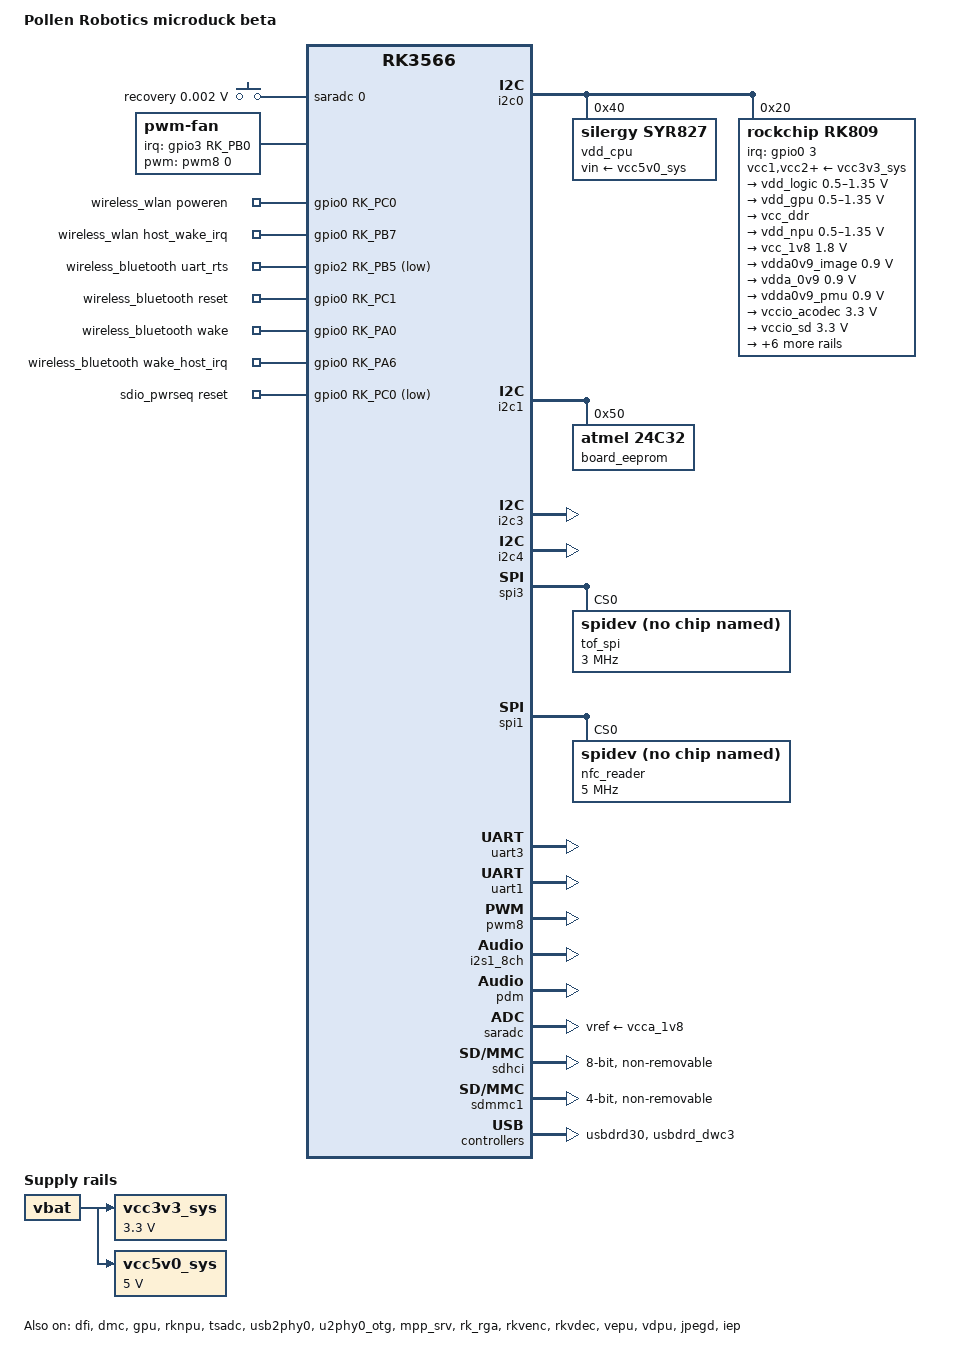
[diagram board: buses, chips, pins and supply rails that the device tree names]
// SPDX-License-Identifier: (GPL-2.0+ OR MIT)
/*
 * microduck beta: Seeed "MicroDuck Main Board", RK3566, 1 GB DDR3, 64 GB eMMC.
 *
 * Transcribed from the V0.1 schematic dated 2026-09-09 (24 sheets). That
 * schematic is known to be OLDER than the boards in hand, and no newer one was
 * available when this was written. So every pin below is "what V0.1 says",
 * not "what the board does" -- docs/agents/beta-board.md lists what to measure
 * before trusting each block, and the order to do it in. Sheet numbers are
 * cited so a newer schematic can be diffed against this file block by block.
 *
 * Built on Rockchip's own rk3566.dtsi + rk3568-linux.dtsi, the same base as
 * radxa's rk3566-radxa-zero3.dtsi, so everything SoC-level (MPP, RGA, ISP,
 * NPU, GPU) is described exactly as on the Zero 3W the image already runs on.
 * What differs is the board: a different PMIC (RK809, not RK817), a different
 * motor UART, eMMC instead of SD, a codec instead of HDMI, and a face board.
 *
 * Not a Zero 3W in any respect beyond the SoC: do not include
 * rk3566-radxa-zero3.dtsi here, and do not port fixes between the two blindly.
 */

/dts-v1/;

#include <dt-bindings/gpio/gpio.h>
#include <dt-bindings/input/input.h>
#include <dt-bindings/pinctrl/rockchip.h>
#include <dt-bindings/pwm/pwm.h>
#include "rk3566.dtsi"
#include "rk3568-linux.dtsi"

/ {
	model = "Pollen Robotics microduck beta";
	/*
	 * The first entry is what tells software it is on a beta board:
	 * /proc/device-tree/compatible. The board *revision* within the family
	 * comes from the SARADC_VIN1 divider instead (see &saradc), so a later
	 * board spin keeps this string unless it needs a different DTB.
	 */
	compatible = "pollen,microduck-beta", "rockchip,rk3566";

	/*
	 * The motor bus is UART3 here, not UART2 -- but it enumerates as
	 * /dev/ttyS2, because these two aliases are swapped.
	 *
	 * Deliberate: /dev/ttyS2 is the motor bus in robotd.toml, in the daemon's
	 * install scripts and in every doc, because on the Zero 3W it really is
	 * UART2. Renaming the device per board would mean a per-machine robotd.toml
	 * (and so a per-machine build of the whole Rust daemon recipe) to change
	 * one string. 8250_dw takes its line number from the "serial" alias
	 * (8250_dw.c: of_alias_get_id(np, "serial")), so this costs nothing.
	 *
	 * UART2 itself stays the FIQ debug console (ttyFIQ0), which is not an 8250
	 * port, so nothing else wants the ttyS2 name.
	 */
	aliases {
		serial2 = &uart3;
		serial3 = &uart2;
	};

	/*
	 * rk3568-linux.dtsi's bootargs carry root=PARTUUID=614e0000-0000. Replaced,
	 * not appended to, for the reason 0001-*-restore-chosen-bootargs.patch gives
	 * for the Zero 3W: U-Boot's RAUC script passes root=PARTLABEL=rootfs_a|b,
	 * and a root= here would REPLACE it and pin every boot to one slot.
	 *
	 * Unlike the Zero 3W, earlycon and console=ttyFIQ0 are wanted and safe:
	 * UART2 (0xfe660000) is the debug UART on test pads TP83/TP84 (sheet 24,
	 * "Default debug UART 3.3V"), not the motor bus.
	 */
	chosen {
		bootargs = "earlycon=uart8250,mmio32,0xfe660000 console=ttyFIQ0 rw rootwait";
	};

	/* Sheet 4/5: the battery feeds two TPS54302 bucks. */
	vbat: vbat {
		compatible = "regulator-fixed";
		regulator-name = "vbat";
		regulator-always-on;
		regulator-boot-on;
	};

	vcc3v3_sys: vcc3v3-sys {
		compatible = "regulator-fixed";
		regulator-name = "vcc3v3_sys";
		regulator-always-on;
		regulator-boot-on;
		regulator-min-microvolt = <3300000>;
		regulator-max-microvolt = <3300000>;
		vin-supply = <&vbat>;
	};

	vcc5v0_sys: vcc5v0-sys {
		compatible = "regulator-fixed";
		regulator-name = "vcc5v0_sys";
		regulator-always-on;
		regulator-boot-on;
		regulator-min-microvolt = <5000000>;
		regulator-max-microvolt = <5000000>;
		vin-supply = <&vbat>;
	};

	/*
	 * Sheet 21/14: the Recovery button pulls SARADC_VIN0 to ground (10k to
	 * VCCA_1V8 otherwise). Described the way Rockchip's evb does it, because
	 * Rockchip's U-Boot reads this node from the kernel DTB to decide whether
	 * to enter rockusb (loader) mode -- which is what lets the button replace
	 * shorting the maskrom pads for a reflash. NOT verified on this board:
	 * docs/agents/beta-board.md says how to check.
	 */
	adc-keys {
		compatible = "adc-keys";
		io-channels = <&saradc 0>;
		io-channel-names = "buttons";
		keyup-threshold-microvolt = <1800000>;
		poll-interval = <100>;

		recovery-key {
			label = "recovery";
			linux,code = <KEY_VOLUMEUP>;
			press-threshold-microvolt = <1750>;
		};
	};

	/*
	 * Sheet 21: 4-pin fan header, PWM8_M0 through a level shifter, tach on
	 * GPIO3_B0 through a MOSFET with a 10k pull-up. Whether a fan is fitted
	 * on the beta units is not known; with none, the tach simply reads 0.
	 */
	fan: pwm-fan {
		compatible = "pwm-fan";
		#cooling-cells = <2>;
		pwms = <&pwm8 0 40000 0>;
		cooling-levels = <0 96 160 255>;
		interrupt-parent = <&gpio3>;
		interrupts = <RK_PB0 IRQ_TYPE_EDGE_FALLING>;
		pulses-per-revolution = <2>;
		pinctrl-names = "default";
		pinctrl-0 = <&fan_tach>;
	};

	/*
	 * Sheet 7: speaker. The codec's HPL output drives an NS4150B class-D amp
	 * (enable = AUDIO_AMP_CTL, GPIO1_B0) into the 4 ohm speaker. SPK_OUT is
	 * not connected, so the codec must play on its *headphone* path; see
	 * hp-ctl-gpios on &rk809_codec.
	 */
	rk809_sound: rk809-sound {
		compatible = "rockchip,multicodecs-card";
		rockchip,card-name = "rockchip-rk809";
		rockchip,format = "i2s";
		rockchip,mclk-fs = <256>;
		rockchip,cpu = <&i2s1_8ch>;
		rockchip,codec = <&rk809_codec>;
		status = "okay";
	};

	/*
	 * Sheet 18/24: the face board's microphone is PDM, on PDM_CLK1_M0
	 * (GPIO1_A4) and PDM_SDI1_M0 (GPIO1_B2). Not an analog mic into the
	 * codec: MIC1P/N on the RK809 are tied off (sheet 7).
	 */
	pdmics: dummy-codec {
		compatible = "rockchip,dummy-codec";
		#sound-dai-cells = <0>;
		status = "okay";
	};

	pdm_mic: pdm-mic {
		compatible = "simple-audio-card";
		simple-audio-card,name = "rockchip,pdm-mic";
		status = "okay";

		simple-audio-card,cpu {
			sound-dai = <&pdm>;
		};

		simple-audio-card,codec {
			sound-dai = <&pdmics>;
		};
	};

	/*
	 * Sheet 22: WL6201S WiFi/BT module on SDMMC1 + UART1. The chip inside it
	 * is NOT known yet, so this is the generic Rockchip rfkill/power
	 * description, which bcmdhd, brcmfmac and the aic8800 vendor driver all
	 * consume. The module footprint has no 32 kHz LPO pin, which argues
	 * against Broadcom/Cypress -- but that is an inference, not a fact. The
	 * driver (and RK_WIFIBT_RRECOMMENDS in the machine conf) follow from the
	 * answer.
	 *
	 * Same SoC pins as the Zero 3W for REG_ON and the UART; the wake lines
	 * moved (HOST_WAKE_BT GPIO0_A0, BT_WAKE_HOST GPIO0_A6, WIFI_WAKE_HOST
	 * GPIO0_B7).
	 */
	wireless_wlan: wireless-wlan {
		compatible = "wlan-platdata";
		rockchip,grf = <&grf>;
		WIFI,poweren_gpio = <&gpio0 RK_PC0 GPIO_ACTIVE_HIGH>;
		WIFI,host_wake_irq = <&gpio0 RK_PB7 GPIO_ACTIVE_HIGH>;
		pinctrl-names = "default";
		pinctrl-0 = <&wifi_host_wake>;
		status = "okay";
	};

	wireless_bluetooth: wireless-bluetooth {
		compatible = "bluetooth-platdata";
		uart_rts_gpios = <&gpio2 RK_PB5 GPIO_ACTIVE_LOW>;
		pinctrl-names = "default", "rts_gpio";
		pinctrl-0 = <&uart1m0_rtsn>;
		pinctrl-1 = <&uart1_gpios>;
		BT,reset_gpio    = <&gpio0 RK_PC1 GPIO_ACTIVE_HIGH>;
		BT,wake_gpio     = <&gpio0 RK_PA0 GPIO_ACTIVE_HIGH>;
		BT,wake_host_irq = <&gpio0 RK_PA6 GPIO_ACTIVE_HIGH>;
		status = "okay";
	};

	sdio_pwrseq: sdio-pwrseq {
		compatible = "mmc-pwrseq-simple";
		pinctrl-names = "default";
		pinctrl-0 = <&wifi_enable_h>;
		reset-gpios = <&gpio0 RK_PC0 GPIO_ACTIVE_LOW>;
	};
};

&cpu0 {
	cpu-supply = <&vdd_cpu>;
};

&dfi {
	status = "okay";
};

&dmc {
	center-supply = <&vdd_logic>;
	status = "okay";
};

&gpu {
	mali-supply = <&vdd_gpu>;
	status = "okay";
};

&rknpu {
	rknpu-supply = <&vdd_npu>;
	status = "okay";
};

&rknpu_mmu {
	status = "okay";
};

/*
 * Sheet 4, "IO Power Domain Map" -- and the one block in this file that can
 * damage the SoC if it is wrong. Telling a 3.3 V-supplied bank it is at 1.8 V
 * overdrives its pads. Each value below is the supply the V0.1 schematic draws
 * for that bank; MEASURE THEM on the physical board (the test points are in
 * docs/agents/beta-board.md) before booting a kernel with this DTB.
 *
 * Note how it differs from the Zero 3W: there vccio4 is 1.8 V and vccio6 3.3 V;
 * here it is the other way round (VCCIO6 is the camera/ToF bank at 1.8 V).
 */
&pmu_io_domains {
	status = "okay";
	pmuio1-supply = <&vcc3v3_pmu>;
	pmuio2-supply = <&vcc3v3_pmu>;
	vccio1-supply = <&vccio_acodec>;	/* 3.3 V: I2S1 to the codec, amp enable */
	vccio2-supply = <&vcc_1v8>;		/* 1.8 V: eMMC, FLASH_VOL_SEL high */
	vccio3-supply = <&vccio_sd>;		/* 3.3 V: SDMMC0, unconnected */
	vccio4-supply = <&vcc_3v3>;		/* 3.3 V: SDIO + UART1 to the radio, I2C4 */
	vccio5-supply = <&vcc_3v3>;		/* 3.3 V: motors, IMU I2C3, NFC SPI1, fan */
	vccio6-supply = <&vcc_1v8>;		/* 1.8 V: camera, ToF SPI3 */
	vccio7-supply = <&vcc_3v3>;		/* 3.3 V: UART9 test points, BTB GPIO4_C7/D0 */
};

/* Sheet 6/7: RK809-5 PMIC and the RK860-1 CPU rail, both on I2C0. */
&i2c0 {
	status = "okay";

	/*
	 * RK860-1, drawn with a pin-to-pin TCS4525-WT alternative. Described like
	 * radxa's Zero 3 RK860 (silergy,syr827 at 0x40), which is proven with this
	 * kernel. If the board carries the TCS4525 instead, this node does not
	 * probe and the CPU stays at its boot voltage: swap it for
	 * compatible = "tcs,tcs4525"; reg = <0x1c>; (rk3568-evb.dtsi has one).
	 * VSEL is PMIC_SLEEP_H, as on the Zero 3.
	 */
	vdd_cpu: rk860x@40 {
		compatible = "silergy,syr827";
		reg = <0x40>;
		vin-supply = <&vcc5v0_sys>;
		regulator-compatible = "fan53555-reg";
		regulator-name = "vdd_cpu";
		regulator-min-microvolt = <712500>;
		regulator-max-microvolt = <1390000>;
		regulator-init-microvolt = <1000000>;
		regulator-ramp-delay = <2300>;
		fcs,suspend-voltage-selector = <1>;
		regulator-boot-on;
		regulator-always-on;
		regulator-state-mem {
			regulator-off-in-suspend;
		};
	};

	rk809: pmic@20 {
		compatible = "rockchip,rk809";
		reg = <0x20>;
		interrupt-parent = <&gpio0>;
		interrupts = <3 IRQ_TYPE_LEVEL_LOW>;

		pinctrl-names = "default", "pmic-sleep",
				"pmic-power-off", "pmic-reset";
		pinctrl-0 = <&pmic_int>;
		pinctrl-1 = <&soc_slppin_slp>, <&rk817_slppin_slp>;
		pinctrl-2 = <&soc_slppin_gpio>, <&rk817_slppin_pwrdn>;
		pinctrl-3 = <&soc_slppin_gpio>, <&rk817_slppin_rst>;

		rockchip,system-power-controller;
		wakeup-source;
		#clock-cells = <1>;
		clock-output-names = "rk808-clkout1", "rk808-clkout2";
		/* 1: rst regs (default in codes), 0: rst the pmic */
		pmic-reset-func = <0>;
		/* not save the PMIC_POWER_EN register in uboot */
		not-save-power-en = <1>;

		/* Sheet 6: every input is VCC3V3_SYS. */
		vcc1-supply = <&vcc3v3_sys>;
		vcc2-supply = <&vcc3v3_sys>;
		vcc3-supply = <&vcc3v3_sys>;
		vcc4-supply = <&vcc3v3_sys>;
		vcc5-supply = <&vcc3v3_sys>;
		vcc6-supply = <&vcc3v3_sys>;
		vcc7-supply = <&vcc3v3_sys>;
		vcc8-supply = <&vcc3v3_sys>;
		vcc9-supply = <&vcc3v3_sys>;

		pwrkey {
			status = "okay";
		};

		pinctrl_rk8xx: pinctrl_rk8xx {
			gpio-controller;
			#gpio-cells = <2>;

			rk817_slppin_null: rk817_slppin_null {
				pins = "gpio_slp";
				function = "pin_fun0";
			};

			rk817_slppin_slp: rk817_slppin_slp {
				pins = "gpio_slp";
				function = "pin_fun1";
			};

			rk817_slppin_pwrdn: rk817_slppin_pwrdn {
				pins = "gpio_slp";
				function = "pin_fun2";
			};

			rk817_slppin_rst: rk817_slppin_rst {
				pins = "gpio_slp";
				function = "pin_fun3";
			};
		};

		/*
		 * Rail names and voltages from sheet 4's power table. The order of
		 * nodes follows the PMIC channels, not the boot slots.
		 */
		regulators {
			vdd_logic: DCDC_REG1 {
				regulator-always-on;
				regulator-boot-on;
				regulator-min-microvolt = <500000>;
				regulator-max-microvolt = <1350000>;
				regulator-init-microvolt = <900000>;
				regulator-ramp-delay = <6001>;
				regulator-initial-mode = <0x2>;
				regulator-name = "vdd_logic";
				regulator-state-mem {
					regulator-off-in-suspend;
				};
			};

			vdd_gpu: DCDC_REG2 {
				regulator-always-on;
				regulator-boot-on;
				regulator-min-microvolt = <500000>;
				regulator-max-microvolt = <1350000>;
				regulator-init-microvolt = <900000>;
				regulator-ramp-delay = <6001>;
				regulator-initial-mode = <0x2>;
				regulator-name = "vdd_gpu";
				regulator-state-mem {
					regulator-off-in-suspend;
				};
			};

			/* DDR3, 1.53 V set by the feedback divider (R78/R79), not software. */
			vcc_ddr: DCDC_REG3 {
				regulator-always-on;
				regulator-boot-on;
				regulator-initial-mode = <0x2>;
				regulator-name = "vcc_ddr";
				regulator-state-mem {
					regulator-on-in-suspend;
				};
			};

			/* The NPU has its own rail here; on the Zero 3 it shares vdd_gpu. */
			vdd_npu: DCDC_REG4 {
				regulator-always-on;
				regulator-boot-on;
				regulator-min-microvolt = <500000>;
				regulator-max-microvolt = <1350000>;
				regulator-init-microvolt = <900000>;
				regulator-ramp-delay = <6001>;
				regulator-initial-mode = <0x2>;
				regulator-name = "vdd_npu";
				regulator-state-mem {
					regulator-off-in-suspend;
				};
			};

			vcc_1v8: DCDC_REG5 {
				regulator-always-on;
				regulator-boot-on;
				regulator-min-microvolt = <1800000>;
				regulator-max-microvolt = <1800000>;
				regulator-name = "vcc_1v8";
				regulator-state-mem {
					regulator-off-in-suspend;
				};
			};

			/* MIPI CSI analog 0.9 V. */
			vdda0v9_image: LDO_REG1 {
				regulator-always-on;
				regulator-boot-on;
				regulator-min-microvolt = <900000>;
				regulator-max-microvolt = <900000>;
				regulator-name = "vdda0v9_image";
				regulator-state-mem {
					regulator-off-in-suspend;
				};
			};

			vdda_0v9: LDO_REG2 {
				regulator-always-on;
				regulator-boot-on;
				regulator-min-microvolt = <900000>;
				regulator-max-microvolt = <900000>;
				regulator-name = "vdda_0v9";
				regulator-state-mem {
					regulator-off-in-suspend;
				};
			};

			vdda0v9_pmu: LDO_REG3 {
				regulator-always-on;
				regulator-boot-on;
				regulator-min-microvolt = <900000>;
				regulator-max-microvolt = <900000>;
				regulator-name = "vdda0v9_pmu";
				regulator-state-mem {
					regulator-on-in-suspend;
					regulator-suspend-microvolt = <900000>;
				};
			};

			/*
			 * 3.3 V, not the evb's 3.0 V: sheet 4 puts VCCIO1 at 3.3 V,
			 * and VCCIO1 carries the I2S1 lines and the amp enable.
			 */
			vccio_acodec: LDO_REG4 {
				regulator-always-on;
				regulator-boot-on;
				regulator-min-microvolt = <3300000>;
				regulator-max-microvolt = <3300000>;
				regulator-name = "vccio_acodec";
				regulator-state-mem {
					regulator-off-in-suspend;
				};
			};

			vccio_sd: LDO_REG5 {
				regulator-always-on;
				regulator-boot-on;
				regulator-min-microvolt = <3300000>;
				regulator-max-microvolt = <3300000>;
				regulator-name = "vccio_sd";
				regulator-state-mem {
					regulator-off-in-suspend;
				};
			};

			vcc3v3_pmu: LDO_REG6 {
				regulator-always-on;
				regulator-boot-on;
				regulator-min-microvolt = <3300000>;
				regulator-max-microvolt = <3300000>;
				regulator-name = "vcc3v3_pmu";
				regulator-state-mem {
					regulator-on-in-suspend;
					regulator-suspend-microvolt = <3300000>;
				};
			};

			vcca_1v8: LDO_REG7 {
				regulator-always-on;
				regulator-boot-on;
				regulator-min-microvolt = <1800000>;
				regulator-max-microvolt = <1800000>;
				regulator-name = "vcca_1v8";
				regulator-state-mem {
					regulator-off-in-suspend;
				};
			};

			vcca1v8_pmu: LDO_REG8 {
				regulator-always-on;
				regulator-boot-on;
				regulator-min-microvolt = <1800000>;
				regulator-max-microvolt = <1800000>;
				regulator-name = "vcca1v8_pmu";
				regulator-state-mem {
					regulator-on-in-suspend;
					regulator-suspend-microvolt = <1800000>;
				};
			};

			/* MIPI CSI analog 1.8 V. */
			vcca1v8_image: LDO_REG9 {
				regulator-always-on;
				regulator-boot-on;
				regulator-min-microvolt = <1800000>;
				regulator-max-microvolt = <1800000>;
				regulator-name = "vcca1v8_image";
				regulator-state-mem {
					regulator-off-in-suspend;
				};
			};

			vcc_3v3: SWITCH_REG1 {
				regulator-always-on;
				regulator-boot-on;
				regulator-name = "vcc_3v3";
				regulator-state-mem {
					regulator-off-in-suspend;
				};
			};

			vcc3v3_sd: SWITCH_REG2 {
				regulator-always-on;
				regulator-boot-on;
				regulator-name = "vcc3v3_sd";
				regulator-state-mem {
					regulator-off-in-suspend;
				};
			};
		};

		/*
		 * The amp hangs off HPL (sheet 7), so the speaker is the codec's
		 * headphone path: hp-ctl-gpios is switched on for the HP path and
		 * off for the others (rk817_codec.c, rk817_codec_ctl_gpio). Userspace
		 * still has to select it once: `amixer cset name='Playback Path' HP`.
		 * Not verified on hardware.
		 */
		rk809_codec: codec {
			#sound-dai-cells = <0>;
			compatible = "rockchip,rk809-codec", "rockchip,rk817-codec";
			clocks = <&cru I2S1_MCLKOUT>;
			clock-names = "mclk";
			assigned-clocks = <&cru I2S1_MCLKOUT>, <&cru I2S1_MCLK_TX_IOE>;
			assigned-clock-rates = <12288000>;
			assigned-clock-parents = <&cru I2S1_MCLKOUT_TX>, <&cru I2S1_MCLKOUT_TX>;
			pinctrl-names = "default";
			pinctrl-0 = <&i2s1m0_mclk &amp_ctl>;
			hp-ctl-gpios = <&gpio1 RK_PB0 GPIO_ACTIVE_HIGH>;
			hp-volume = <20>;
			status = "okay";
		};
	};
};

/*
 * Sheet 24: board ID EEPROM, FT24C32A at 0x50. Its WP pin is pulled high by R52
 * and the GPIO that could drive it (EEPROM_WP, GPIO0_C7) goes through R53,
 * which V0.1 marks DNP -- so from software it is read-only. Writing it means
 * shorting TP37 (WP) to TP36 (GND). Whether Seeed programs anything into it is
 * not known; read /sys/bus/i2c/devices/1-0050/eeprom to find out.
 */
&i2c1 {
	status = "okay";

	board_eeprom: eeprom@50 {
		compatible = "atmel,24c32";
		reg = <0x50>;
		pagesize = <32>;
		read-only;
	};
};

/*
 * Sheet 17/24: the face board's IMU, on I2C3_M1 with INT1/INT2 on GPIO3_B4/B3.
 * tofd drives it from userspace through /dev/i2c-3, which is the second of its
 * BUS_CANDIDATES, so it needs nothing more than the bus.
 */
&i2c3 {
	status = "okay";
	pinctrl-names = "default";
	pinctrl-0 = <&i2c3m1_xfer>;
};

/* Sheet 24: the Qwiic connector, I2C4_M1. Nothing attached by default. */
&i2c4 {
	status = "okay";
	pinctrl-names = "default";
	pinctrl-0 = <&i2c4m1_xfer>;
};

/*
 * Sheet 15/24: the face board's ToF sensor is on SPI3_M0 at 1.8 V, with
 * TOF_INT on GPIO4_B6 and TOF_SYNC on GPIO4_B7. That rules out the VL53L5CX
 * the prototype uses (I2C only); which part it is, and so its maximum clock, is
 * not known. Exposed as spidev for tofd; 3 MHz is the VL53L7CX/L8CX ceiling and
 * a safe start.
 */
&spi3 {
	status = "okay";
	pinctrl-names = "default", "high_speed";
	pinctrl-0 = <&spi3m0_cs0 &spi3m0_pins>;
	pinctrl-1 = <&spi3m0_cs0 &spi3m0_pins_hs>;

	tof_spi: spidev@0 {
		compatible = "rockchip,spidev";
		reg = <0>;
		spi-max-frequency = <3000000>;
	};
};

/*
 * Sheet 23: ST25R100 NFC reader on SPI1_M1, IRQ on GPIO3_C4, reset on
 * GPIO3_C5. No kernel driver exists for it; spidev, for a userspace driver.
 */
&spi1 {
	status = "okay";
	pinctrl-names = "default", "high_speed";
	pinctrl-0 = <&spi1m1_cs0 &spi1m1_pins>;
	pinctrl-1 = <&spi1m1_cs0 &spi1m1_pins_hs>;

	nfc_reader: spidev@0 {
		compatible = "rockchip,spidev";
		reg = <0>;
		spi-max-frequency = <5000000>;
	};
};

/*
 * Sheet 24: the Dynamixel bus. UART3_M1 (TX GPIO3_B7, RX GPIO3_C0) into a
 * half-duplex buffer pair whose direction is switched by the TX line itself,
 * so there is no RTS/direction GPIO to describe. /dev/ttyS2 -- see aliases.
 */
&uart3 {
	status = "okay";
	pinctrl-names = "default";
	pinctrl-0 = <&uart3m1_xfer>;
};

/* Bluetooth HCI, same pins as on the Zero 3W. */
&uart1 {
	status = "okay";
	pinctrl-names = "default";
	pinctrl-0 = <&uart1m0_xfer &uart1m0_ctsn>;
};

&pwm8 {
	status = "okay";
	pinctrl-names = "active";
	pinctrl-0 = <&pwm8m0_pins>;
};

&i2s1_8ch {
	status = "okay";
	rockchip,trcm-sync-tx-only;
	pinctrl-names = "default";
	pinctrl-0 = <&i2s1m0_sclktx &i2s1m0_lrcktx &i2s1m0_sdi0 &i2s1m0_sdo0>;
};

/*
 * The mic is on data line 1, so path 0 is pointed at SDI1:
 * rockchip,path-map[n] is the SDI line path n reads (rockchip_pdm.c,
 * rockchip_pdm_path_parse). Not verified on hardware.
 */
&pdm {
	status = "okay";
	pinctrl-names = "default";
	pinctrl-0 = <&pdmm0_clk1 &pdmm0_sdi1>;
	rockchip,path-map = <1 0 2 3>;
};

/*
 * Channel 0: the Recovery button. Channel 1: the hardware revision divider
 * (sheet 14, "Hardware board ID"): 10k up to 1.8 V, down-resistor per revision.
 * V0.1 fits only the pull-up, so raw 1023 is "Version_1"; Seeed's table
 * defines seven levels. Read it with
 *   cat /sys/bus/iio/devices/iio:device0/in_voltage1_raw
 */
&saradc {
	status = "okay";
	vref-supply = <&vcca_1v8>;
};

&tsadc {
	status = "okay";
};

/* Sheet 20: 8-bit eMMC at 1.8 V, the only storage. */
&sdhci {
	bus-width = <8>;
	supports-emmc;
	non-removable;
	no-sdio;
	no-sd;
	max-frequency = <200000000>;
	status = "okay";
};

/* No SD slot (SDMMC0 is unconnected on sheet 12). */
&sdmmc0 {
	status = "disabled";
};

&sdmmc1 {
	supports-sdio;
	bus-width = <4>;
	disable-wp;
	cap-sd-highspeed;
	cap-sdio-irq;
	keep-power-in-suspend;
	non-removable;
	rockchip,default-sample-phase = <180>;
	mmc-pwrseq = <&sdio_pwrseq>;
	no-sd;
	no-mmc;
	pinctrl-names = "default";
	pinctrl-0 = <&sdmmc1_bus4 &sdmmc1_cmd &sdmmc1_clk>;
	sd-uhs-sdr104;
	status = "okay";
};

/*
 * Sheet 13/24: USB is the USB-C "Recovery USB" alone -- OTG0 at USB 2.0, the
 * port the boot ROM's maskrom mode uses. In Linux it is the dwc3 OTG port;
 * there is no USB host connector and no USB 3 lane.
 */
&usb2phy0 {
	status = "okay";
};

&u2phy0_otg {
	status = "okay";
};

&usbdrd30 {
	status = "okay";
};

&usbdrd_dwc3 {
	status = "okay";
};

/* SoC media blocks, as on the Zero 3: mediad encodes with MPP. */
&mpp_srv {
	status = "okay";
};

&rk_rga {
	status = "okay";
};

&rkvenc {
	venc-supply = <&vdd_logic>;
	status = "okay";
};

&rkvenc_mmu {
	status = "okay";
};

&rkvdec {
	status = "okay";
};

&rkvdec_mmu {
	status = "okay";
};

&vepu {
	status = "okay";
};

&vepu_mmu {
	status = "okay";
};

&vdpu {
	status = "okay";
};

&vdpu_mmu {
	status = "okay";
};

&jpegd {
	status = "okay";
};

&jpegd_mmu {
	status = "okay";
};

&iep {
	status = "okay";
};

&iep_mmu {
	status = "okay";
};

/*
 * The camera (sheet 15): a GC2613 on a 4-lane BTB connector, of which two data
 * lanes are wired, I2C2_M1 at 1.8 V, MCLK from CIF_CLKOUT (GPIO4_C0), PWDN on
 * GPIO3_C6 and RST on GPIO4_C1.
 *
 * Deliberately NOT described yet. radxa's kernel has no gc2613 driver
 * (drivers/media/i2c has gc2035/2053/2093/2145/2155/2355/2375h/2385 only), and a
 * sensor node nothing binds leaves rkisp waiting on an async subdev that never
 * arrives -- no /dev/video* at all, which is worse than an honest absence. When
 * a driver exists, the chain to copy is 0003-*-imx219.patch: sensor ->
 * csi2_dphy0 -> rkisp_vir0, plus rkisp/rkcif and their MMUs.
 */

/* Rockchip's own soc_thermal zone; the fan joins the CPU at the 70 C trip. */
&soc_thermal {
	cooling-maps {
		map1 {
			trip = <&threshold>;
			cooling-device = <&fan THERMAL_NO_LIMIT THERMAL_NO_LIMIT>;
		};
	};
};

&pinctrl {
	pmic {
		pmic_int: pmic_int {
			rockchip,pins = <0 RK_PA3 RK_FUNC_GPIO &pcfg_pull_up>;
		};

		soc_slppin_gpio: soc_slppin_gpio {
			rockchip,pins = <0 RK_PA2 RK_FUNC_GPIO &pcfg_output_low_pull_down>;
		};

		soc_slppin_slp: soc_slppin_slp {
			rockchip,pins = <0 RK_PA2 RK_FUNC_GPIO &pcfg_pull_up>;
		};

		soc_slppin_rst: soc_slppin_rst {
			rockchip,pins = <0 RK_PA2 RK_FUNC_GPIO &pcfg_pull_none>;
		};
	};

	audio {
		amp_ctl: amp-ctl {
			rockchip,pins = <1 RK_PB0 RK_FUNC_GPIO &pcfg_pull_down>;
		};
	};

	fan {
		fan_tach: fan-tach {
			rockchip,pins = <3 RK_PB0 RK_FUNC_GPIO &pcfg_pull_up>;
		};
	};

	wifi {
		wifi_enable_h: wifi-enable-h {
			rockchip,pins = <0 RK_PC0 RK_FUNC_GPIO &pcfg_pull_none>;
		};

		wifi_host_wake: wifi-host-wake {
			rockchip,pins = <0 RK_PB7 RK_FUNC_GPIO &pcfg_pull_down>;
		};
	};

	wireless-bluetooth {
		uart1_gpios: uart1-gpios {
			rockchip,pins = <2 RK_PB5 RK_FUNC_GPIO &pcfg_pull_none>;
		};
	};
};

/*
 * Line names for every signal V0.1 routes to a GPIO, so userspace finds them by
 * name (`gpiofind TOF_INT`) rather than by a number that a board revision can
 * move. Pins the DT already owns are named too, for `gpioinfo` readability.
 */
&gpio0 {
	gpio-line-names =
		/* GPIO0_A0-A7 */
		"HOST_WAKE_BT", "TSADC_SHUT", "PMIC_SLEEP", "PMIC_INT",
		"", "", "BT_WAKE_HOST", "FLASH_VOL_SEL",
		/* GPIO0_B0-B7 */
		"CLK32K_IN", "I2C0_SCL", "I2C0_SDA", "I2C1_SCL",
		"I2C1_SDA", "", "", "WIFI_WAKE_HOST",
		/* GPIO0_C0-C7 */
		"WIFI_REG_ON", "BT_REG_ON", "", "",
		"", "", "", "EEPROM_WP",
		/* GPIO0_D0-D7 */
		"DEBUG_RX", "DEBUG_TX", "", "",
		"", "", "", "";
};

&gpio1 {
	gpio-line-names =
		/* GPIO1_A0-A7 */
		"", "", "I2S1_MCLK", "I2S1_SCLK",
		"PDM_CLK1", "I2S1_LRCK", "PDM_CLK0", "I2S1_SDO0",
		/* GPIO1_B0-B7 */
		"AUDIO_AMP_CTL", "", "PDM_SDI1", "I2S1_SDI0",
		"", "", "", "",
		/* GPIO1_C0-C7 */
		"", "", "", "",
		"", "", "", "",
		/* GPIO1_D0-D7 */
		"", "", "", "",
		"", "", "", "";
};

&gpio3 {
	gpio-line-names =
		/* GPIO3_A0-A7 */
		"", "NFC_CS", "", "",
		"", "", "", "",
		/* GPIO3_B0-B7 */
		"FAN_TACH", "FAN_PWM", "", "IMU_INT2",
		"IMU_INT1", "IMU_SCL", "IMU_SDA", "MOTOR_TX",
		/* GPIO3_C0-C7 */
		"MOTOR_RX", "NFC_MOSI", "NFC_MISO", "NFC_CLK",
		"NFC_IRQ", "NFC_RST", "CAM_PWDN", "",
		/* GPIO3_D0-D7 */
		"", "", "", "",
		"", "", "", "";
};

&gpio4 {
	gpio-line-names =
		/* GPIO4_A0-A7 */
		"", "", "", "",
		"", "", "TOF_CS", "",
		/* GPIO4_B0-B7 */
		"TOF_MISO", "", "TOF_MOSI", "TOF_CLK",
		"CAM_SDA", "CAM_SCL", "TOF_INT", "TOF_SYNC",
		/* GPIO4_C0-C7 */
		"CAM_MCLK", "CAM_RST", "", "",
		"", "UART9_TX", "UART9_RX", "BTB_GPIO4_C7",
		/* GPIO4_D0-D7 */
		"BTB_GPIO4_D0", "", "", "",
		"", "", "", "";
};
